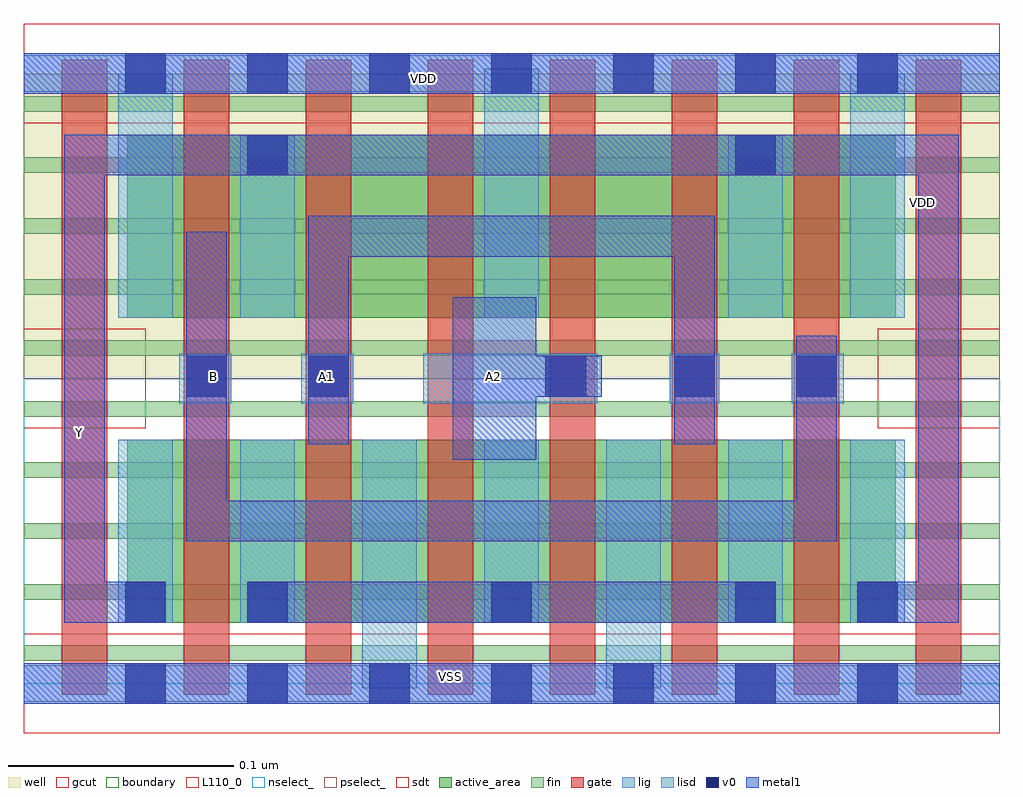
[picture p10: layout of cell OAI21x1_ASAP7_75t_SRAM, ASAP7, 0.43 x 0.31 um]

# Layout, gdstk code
import gdstk
lib = gdstk.Library(unit=1e-6, precision=1e-09)
def R(c, l, rs):  # rectangles x0, y0, x1, y1
    for r in rs: c.add(gdstk.rectangle(r[:2], r[2:], *l))
def A(c, l, x, y, w, h, nx, ny, dx, dy):  # array of equal rectangles
    R(c, l, [(x+i*dx, y+j*dy, x+i*dx+w, y+j*dy+h) for i in range(nx) for j in range(ny)])
def P(c, l, *ps):  # polygons
    for p in ps: c.add(gdstk.Polygon(p, *l))
well = (1, 0)
fin = (2, 0)
gate = (7, 0)
gcut = (10, 0)
active_area = (11, 0)
nselect_ = (12, 0)
pselect_ = (13, 0)
lig = (16, 0)
lisd = (17, 0)
v0 = (18, 0)
metal1 = (19, 0)
sdt = (88, 0)
boundary = (100, 0)
L110_0 = (110, 0)

oai21x1_asap7_75t_sram = lib.new_cell('OAI21x1_ASAP7_75t_SRAM')
R(oai21x1_asap7_75t_sram, well, [(0,0.135,0.432,0.27)])
A(oai21x1_asap7_75t_sram, fin, 0, 0.01, 0.432, 0.007, 1, 10, 0, 0.027)
A(oai21x1_asap7_75t_sram, gate, 0.017, -0.005, 0.02, 0.281, 8, 1, 0.054, 0)
R(oai21x1_asap7_75t_sram, gcut, [(0,-0.022,0.432,0.022), (0,0.113,0.054,0.157), (0.378,0.113,0.432,0.157), (0,0.248,0.432,0.292)])
R(oai21x1_asap7_75t_sram, active_area, [(0.046,0.027,0.386,0.108), (0.046,0.162,0.386,0.243)])
R(oai21x1_asap7_75t_sram, nselect_, [(0,0,0.432,0.135)])
R(oai21x1_asap7_75t_sram, pselect_, [(0,0.135,0.432,0.27)])
R(oai21x1_asap7_75t_sram, lig, [(0,-0.008,0.432,0.008), (0.069,0.124,0.092,0.146), (0.123,0.124,0.146,0.146), (0.177,0.124,0.254,0.146), (0.286,0.124,0.308,0.146), (0.34,0.124,0.363,0.146), (0,0.262,0.432,0.278)])
A(oai21x1_asap7_75t_sram, lisd, 0.096, 0.027, 0.024, 0.081, 3, 1, 0.108, 0)
R(oai21x1_asap7_75t_sram, lisd, [(0.15,-0.002,0.174,0.108), (0.258,-0.002,0.282,0.108), (0.042,0.027,0.066,0.108), (0.366,0.027,0.39,0.108), (0.042,0.162,0.066,0.27), (0.096,0.162,0.12,0.243), (0.204,0.162,0.228,0.272), (0.312,0.162,0.336,0.243), (0.366,0.162,0.39,0.27)])
A(oai21x1_asap7_75t_sram, v0, 0.045, -0.009, 0.018, 0.018, 7, 2, 0.054, 0.27)
A(oai21x1_asap7_75t_sram, v0, 0.099, 0.027, 0.018, 0.018, 3, 1, 0.108, 0)
R(oai21x1_asap7_75t_sram, v0, [(0.045,0.027,0.063,0.045), (0.369,0.027,0.387,0.045), (0.072,0.127,0.09,0.145), (0.126,0.127,0.144,0.145), (0.231,0.127,0.249,0.145), (0.288,0.127,0.306,0.145), (0.342,0.127,0.36,0.145), (0.099,0.225,0.117,0.243), (0.315,0.225,0.333,0.243)])
R(oai21x1_asap7_75t_sram, metal1, [(0,-0.009,0.432,0.009), (0.099,0.027,0.333,0.045), (0,0.261,0.432,0.279)])
P(oai21x1_asap7_75t_sram, metal1, [(0.256,0.127),(0.227,0.127),(0.227,0.099),(0.19,0.099),(0.19,0.171),(0.227,0.171),(0.227,0.145),(0.256,0.145)],
  [(0.414,0.027),(0.369,0.027),(0.369,0.045),(0.396,0.045),(0.396,0.225),(0.036,0.225),(0.036,0.045),(0.063,0.045),(0.063,0.027),(0.018,0.027),(0.018,0.243),(0.414,0.243)],
  [(0.36,0.063),(0.072,0.063),(0.072,0.2),(0.09,0.2),(0.09,0.081),(0.342,0.081),(0.342,0.154),(0.36,0.154)],
  [(0.306,0.106),(0.288,0.106),(0.288,0.189),(0.144,0.189),(0.144,0.106),(0.126,0.106),(0.126,0.207),(0.306,0.207)])
A(oai21x1_asap7_75t_sram, sdt, 0.042, 0.027, 0.024, 0.081, 7, 1, 0.054, 0)
A(oai21x1_asap7_75t_sram, sdt, 0.096, 0.162, 0.024, 0.081, 3, 1, 0.108, 0)
R(oai21x1_asap7_75t_sram, sdt, [(0.042,0.162,0.066,0.243), (0.366,0.162,0.39,0.243)])
R(oai21x1_asap7_75t_sram, boundary, [(0,0,0.432,0.27)])
R(oai21x1_asap7_75t_sram, L110_0, [(0,0,0.432,0.27)])
oai21x1_asap7_75t_sram.add(gdstk.Label('VSS', (0.094,-0.038), layer=3, texttype=251))
oai21x1_asap7_75t_sram.add(gdstk.Label('VDD', (0.398,0.213), layer=1, texttype=251))
oai21x1_asap7_75t_sram.add(gdstk.Label('Y', (0.025,0.111), layer=19, texttype=251))
oai21x1_asap7_75t_sram.add(gdstk.Label('A2', (0.208,0.136), layer=19, texttype=251))
oai21x1_asap7_75t_sram.add(gdstk.Label('B', (0.084,0.136), layer=19, texttype=251))
oai21x1_asap7_75t_sram.add(gdstk.Label('A1', (0.134,0.136), layer=19, texttype=251))
oai21x1_asap7_75t_sram.add(gdstk.Label('VSS', (0.189,0.003), layer=19, texttype=251))
oai21x1_asap7_75t_sram.add(gdstk.Label('VDD', (0.177,0.268), layer=19, texttype=251))

lib.write_gds('OAI21x1_ASAP7_75t_SRAM.gds')
